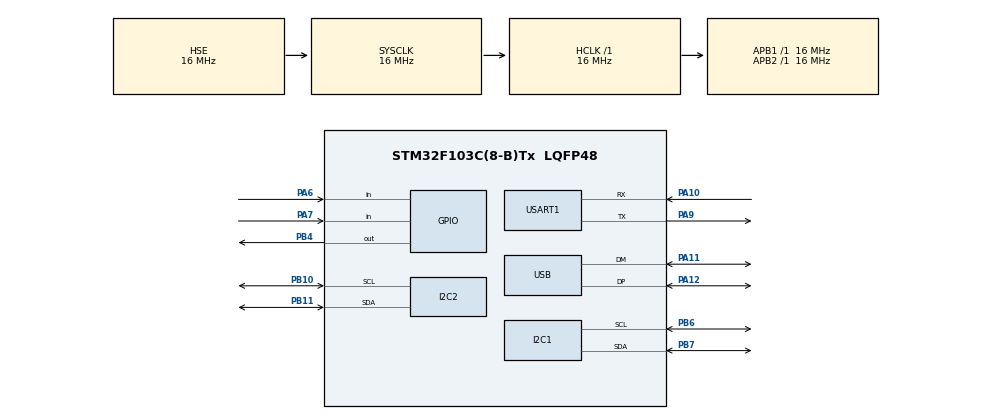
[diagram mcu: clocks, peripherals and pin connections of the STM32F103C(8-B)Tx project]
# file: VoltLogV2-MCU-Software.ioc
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FREERTOS.Tasks01=defaultTask,0,128,StartDefaultTask,Default,NULL,Dynamic,NULL,NULL;ui_button,-2,128,ui_button_handle,Default,NULL,Dynamic,NULL,NULL;ui_screen_handl,0,128,StartTask03,Default,NULL,Dynamic,NULL,NULL;eeprom_task,0,128,eeprom_task_func,Default,NULL,Dynamic,NULL,NULL
FREERTOS.configUSE_NEWLIB_REENTRANT=1
I2C1.I2C_Mode=I2C_Fast
I2C2.I2C_Mode=I2C_Fast
Mcu.Family=STM32F1
Mcu.Name=STM32F103C(8-B)Tx
Mcu.Package=LQFP48
NVIC.PriorityGroup=NVIC_PRIORITYGROUP_4
NVIC.TIM1_UP_IRQn=true\:15\:0\:false\:false\:true\:false\:false\:true\:true
NVIC.TimeBase=TIM1_UP_IRQn
NVIC.TimeBaseIP=TIM1
NVIC.USB_LP_CAN1_RX0_IRQn=true\:5\:0\:false\:false\:true\:true\:false\:true\:true
PA10.Mode=Asynchronous
PA10.Signal=USART1_RX
PA11.Mode=Device
PA11.Signal=USB_DM
PA12.Mode=Device
PA12.Signal=USB_DP
PA6.Signal=GPIO_Input
PA7.Signal=GPIO_Input
PA9.Mode=Asynchronous
PA9.Signal=USART1_TX
PB10.Mode=I2C
PB10.Signal=I2C2_SCL
PB11.Mode=I2C
PB11.Signal=I2C2_SDA
PB4.Signal=GPIO_Output
PB6.Mode=I2C
PB6.Signal=I2C1_SCL
PB7.Mode=I2C
PB7.Signal=I2C1_SDA
PD0-OSC_IN.Mode=HSE-External-Oscillator
PD0-OSC_IN.Signal=RCC_OSC_IN
PD1-OSC_OUT.Mode=HSE-External-Oscillator
PD1-OSC_OUT.Signal=RCC_OSC_OUT
ProjectManager.HeapSize=0x200
ProjectManager.StackSize=0x400
ProjectManager.TargetToolchain=STM32CubeIDE
RCC.AHBFreq_Value=16000000
RCC.APB1Freq_Value=16000000
RCC.APB1TimFreq_Value=16000000
RCC.APB2Freq_Value=16000000
RCC.APB2TimFreq_Value=16000000
RCC.EnbaleCSS=true
RCC.HCLKFreq_Value=16000000
RCC.HSE_VALUE=16000000
RCC.PLLMUL=RCC_PLL_MUL3
RCC.SYSCLKFreq_VALUE=16000000
RCC.SYSCLKSource=RCC_SYSCLKSOURCE_HSE
RCC.USBFreq_Value=48000000
USART1.VirtualMode=VM_ASYNC
USB_DEVICE.CLASS_NAME_FS=MSC
USB_DEVICE.VirtualMode=Msc
USB_DEVICE.VirtualModeFS=Msc_FS
VP_FATFS_VS_Generic.Mode=User_defined
VP_FREERTOS_VS_CMSIS_V1.Mode=CMSIS_V1
VP_SYS_VS_ND.Mode=No_Debug
VP_SYS_VS_tim1.Mode=TIM1
VP_USB_DEVICE_VS_USB_DEVICE_MSC_FS.Mode=MSC_FS
board=custom

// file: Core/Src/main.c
/* USER CODE BEGIN Header */
/* USER CODE END Header */
#include "main.h"
#include "cmsis_os.h"
#include "fatfs.h"
#include "usb_device.h"
#include <stdbool.h>
#include "./ssd1306/ssd1306.h"
#include "./ina219/ina219.h"
#include "./button_api/button_api.h"
#include "m24m02_eeprom/m24m02_eeprom.h"

I2C_HandleTypeDef hi2c1;
I2C_HandleTypeDef hi2c2;

INA219_t ina219;

uint16_t vbus, vshunt, current;
bool is_menu_is_activated = false;
bool allowed_record_to_memory = false;
UART_HandleTypeDef huart1;

osThreadId defaultTaskHandle;
osThreadId ui_buttonHandle;
osThreadId ui_screen_handlHandle;
osThreadId eeprom_taskHandle;

void SystemClock_Config(void);
static void MX_GPIO_Init(void);
static void MX_I2C1_Init(void);
static void MX_I2C2_Init(void);
static void MX_USART1_UART_Init(void);
void StartDefaultTask(void const *argument);
void ui_button_handle(void const *argument);
void StartTask03(void const *argument);
void eeprom_task_func(void const *argument);

int main(void) {

	/* MCU Configuration--------------------------------------------------------*/

	/* Reset of all peripherals, Initializes the Flash interface and the Systick. */
	HAL_Init();

	/* Configure the system clock */
	SystemClock_Config();

	/* Initialize all configured peripherals */
	MX_GPIO_Init();
	MX_I2C1_Init();
	MX_I2C2_Init();
	MX_USART1_UART_Init();
	MX_FATFS_Init();
	/* We should never get here as control is now taken by the scheduler */

	/* Infinite loop */
	/* USER CODE BEGIN WHILE */
	scan_I2C_bus();
	INA219_Init(&ina219);
	INA219_setCalibration_32V_2A(&ina219);
	ssd1306_Init();

	/* Create the thread(s) */
	/* definition and creation of defaultTask */
	osThreadDef(defaultTask, StartDefaultTask, osPriorityNormal, 0, 128);
	defaultTaskHandle = osThreadCreate(osThread(defaultTask), NULL);

	/* definition and creation of ui_button */
	osThreadDef(ui_button, ui_button_handle, osPriorityNormal, 0, 128);
	ui_buttonHandle = osThreadCreate(osThread(ui_button), NULL);

	/* definition and creation of ui_screen_handl */
	osThreadDef(ui_screen_handl, StartTask03, osPriorityNormal, 0, 128);
	ui_screen_handlHandle = osThreadCreate(osThread(ui_screen_handl), NULL);

	/* definition and creation of eeprom_task */
	osThreadDef(eeprom_task, eeprom_task_func, osPriorityNormal, 0, 128);
	eeprom_taskHandle = osThreadCreate(osThread(eeprom_task), NULL);

	/* Start scheduler */
	osKernelStart();

}

void SystemClock_Config(void) {
	RCC_OscInitTypeDef RCC_OscInitStruct = { 0 };
	RCC_ClkInitTypeDef RCC_ClkInitStruct = { 0 };
	RCC_PeriphCLKInitTypeDef PeriphClkInit = { 0 };

	/** Initializes the RCC Oscillators according to the specified parameters
	 * in the RCC_OscInitTypeDef structure.
	 */
	RCC_OscInitStruct.OscillatorType = RCC_OSCILLATORTYPE_HSE;
	RCC_OscInitStruct.HSEState = RCC_HSE_ON;
	RCC_OscInitStruct.HSEPredivValue = RCC_HSE_PREDIV_DIV1;
	RCC_OscInitStruct.HSIState = RCC_HSI_ON;
	RCC_OscInitStruct.PLL.PLLState = RCC_PLL_ON;
	RCC_OscInitStruct.PLL.PLLSource = RCC_PLLSOURCE_HSE;
	RCC_OscInitStruct.PLL.PLLMUL = RCC_PLL_MUL3;
	if (HAL_RCC_OscConfig(&RCC_OscInitStruct) != HAL_OK) {
		Error_Handler();
	}

	/** Initializes the CPU, AHB and APB buses clocks
	 */
	RCC_ClkInitStruct.ClockType = RCC_CLOCKTYPE_HCLK | RCC_CLOCKTYPE_SYSCLK
			| RCC_CLOCKTYPE_PCLK1 | RCC_CLOCKTYPE_PCLK2;
	RCC_ClkInitStruct.SYSCLKSource = RCC_SYSCLKSOURCE_HSE;
	RCC_ClkInitStruct.AHBCLKDivider = RCC_SYSCLK_DIV1;
	RCC_ClkInitStruct.APB1CLKDivider = RCC_HCLK_DIV1;
	RCC_ClkInitStruct.APB2CLKDivider = RCC_HCLK_DIV1;

	if (HAL_RCC_ClockConfig(&RCC_ClkInitStruct, FLASH_LATENCY_0) != HAL_OK) {
		Error_Handler();
	}
	PeriphClkInit.PeriphClockSelection = RCC_PERIPHCLK_USB;
	PeriphClkInit.UsbClockSelection = RCC_USBCLKSOURCE_PLL;
	if (HAL_RCCEx_PeriphCLKConfig(&PeriphClkInit) != HAL_OK) {
		Error_Handler();
	}

	/** Enables the Clock Security System
	 */
	HAL_RCC_EnableCSS();
}

static void MX_I2C1_Init(void) {

	hi2c1.Instance = I2C1;
	hi2c1.Init.ClockSpeed = 400000;
	hi2c1.Init.DutyCycle = I2C_DUTYCYCLE_2;
	hi2c1.Init.OwnAddress1 = 0;
	hi2c1.Init.AddressingMode = I2C_ADDRESSINGMODE_7BIT;
	hi2c1.Init.DualAddressMode = I2C_DUALADDRESS_DISABLE;
	hi2c1.Init.OwnAddress2 = 0;
	hi2c1.Init.GeneralCallMode = I2C_GENERALCALL_DISABLE;
	hi2c1.Init.NoStretchMode = I2C_NOSTRETCH_DISABLE;
	if (HAL_I2C_Init(&hi2c1) != HAL_OK) {
		Error_Handler();
	}

}

static void MX_I2C2_Init(void) {

	hi2c2.Instance = I2C2;
	hi2c2.Init.ClockSpeed = 400000;
	hi2c2.Init.DutyCycle = I2C_DUTYCYCLE_2;
	hi2c2.Init.OwnAddress1 = 0;
	hi2c2.Init.AddressingMode = I2C_ADDRESSINGMODE_7BIT;
	hi2c2.Init.DualAddressMode = I2C_DUALADDRESS_DISABLE;
	hi2c2.Init.OwnAddress2 = 0;
	hi2c2.Init.GeneralCallMode = I2C_GENERALCALL_DISABLE;
	hi2c2.Init.NoStretchMode = I2C_NOSTRETCH_DISABLE;
	if (HAL_I2C_Init(&hi2c2) != HAL_OK) {
		Error_Handler();
	}

}

static void MX_USART1_UART_Init(void) {

	huart1.Instance = USART1;
	huart1.Init.BaudRate = 115200;
	huart1.Init.WordLength = UART_WORDLENGTH_8B;
	huart1.Init.StopBits = UART_STOPBITS_1;
	huart1.Init.Parity = UART_PARITY_NONE;
	huart1.Init.Mode = UART_MODE_TX_RX;
	huart1.Init.HwFlowCtl = UART_HWCONTROL_NONE;
	huart1.Init.OverSampling = UART_OVERSAMPLING_16;
	if (HAL_UART_Init(&huart1) != HAL_OK) {
		Error_Handler();
	}

}

static void MX_GPIO_Init(void) {
	GPIO_InitTypeDef GPIO_InitStruct = { 0 };

	/* GPIO Ports Clock Enable */
	__HAL_RCC_GPIOD_CLK_ENABLE();
	__HAL_RCC_GPIOA_CLK_ENABLE();
	__HAL_RCC_GPIOB_CLK_ENABLE();

	/*Configure GPIO pin Output Level */
	HAL_GPIO_WritePin(GPIOB, GPIO_PIN_4, GPIO_PIN_RESET);

	/*Configure GPIO pins : PA6 PA7 */
	GPIO_InitStruct.Pin = GPIO_PIN_6 | GPIO_PIN_7;
	GPIO_InitStruct.Mode = GPIO_MODE_INPUT;
	GPIO_InitStruct.Pull = GPIO_NOPULL;
	HAL_GPIO_Init(GPIOA, &GPIO_InitStruct);

	/*Configure GPIO pin : PB4 */
	GPIO_InitStruct.Pin = GPIO_PIN_4;
	GPIO_InitStruct.Mode = GPIO_MODE_OUTPUT_PP;
	GPIO_InitStruct.Pull = GPIO_NOPULL;
	GPIO_InitStruct.Speed = GPIO_SPEED_FREQ_LOW;
	HAL_GPIO_Init(GPIOB, &GPIO_InitStruct);

}

void StartDefaultTask(void const *argument) {
	/* init code for USB_DEVICE */
	MX_USB_DEVICE_Init();
	for (;;) {
		osDelay(1);
	}
}

void ui_button_handle(void const *argument) {
	/* USER CODE BEGIN ui_button_handle */
	/* Infinite loop */
	for (;;) {

		eButtonEvent event_left = getLeftButtonEvent(); // Get the button event
		eButtonEvent event_right = getLeftButtonEvent(); // Get the button event
		// is_menu_is_activated
		switch (event_left) {
		case NO_PRESS:
			// No button press detected, do nothing or some idle operation
			break;

		case SINGLE_PRESS:
			// Handle single press event
			// uart_send_message("Single Press Detected\r\n");
			// Add your logic here, e.g., toggle an LED or send a message
			is_menu_is_activated = true;
			// Clear screen
			ssd1306_Fill(Black);

			// Flush buffer to screen
			ssd1306_UpdateScreen();
			draw_settings_screen(100, 100, 100);

			uart_send_message("switch to menu by button click ");

			break;

		case DOUBLE_PRESS:
			// Handle double press event
			// uart_send_message("Double Press Detected\r\n");
			// Add your logic here, e.g., toggle a different LED or send another message

			if (is_menu_is_activated) {
				ssd1306_Fill(Black);

				// Flush buffer to screen
				ssd1306_UpdateScreen();
				is_menu_is_activated = false;
				uart_send_message("switch to main by button click ");

			}
			break;

		case LONG_PRESS:

			//allowed_record_to_memory = true;
			// Handle long press event
			// uart_send_message("Long Press Detected\r\n");
			// Add your logic here, e.g., turn off a device or enter a special mode
			break;

		default:
			// Optionally handle unexpected events
			// uart_send_message("Unknown Button Event\r\n");
			break;
		}

		switch (event_right) {
		case NO_PRESS:
			// No button press detected, do nothing or some idle operation
			break;

		case SINGLE_PRESS:
			// Handle single press event
			// uart_send_message("Single Press Detected\r\n");
			// Add your logic here, e.g., toggle an LED or send a message
			uart_send_message("long press starting recording");
			allowed_record_to_memory = true;
			break;

		case DOUBLE_PRESS:
			// Handle double press event
			// uart_send_message("Double Press Detected\r\n");
			// Add your logic here, e.g., toggle a different LED or send another message
			break;

		case LONG_PRESS:

			// Handle long press event
			// uart_send_message("Long Press Detected\r\n");
			// Add your logic here, e.g., turn off a device or enter a special mode
			break;

		default:
			// Optionally handle unexpected events
			// uart_send_message("Unknown Button Event\r\n");
			break;
		}

		osDelay(1);
	}
	/* USER CODE END ui_button_handle */
}

void StartTask03(void const *argument) {
	/* USER CODE BEGIN StartTask03 */
	/* Infinite loop */
	for (;;) {
		if (!is_menu_is_activated) {
			char buf[40];
			vbus = INA219_ReadBusVoltage(&ina219);
			vshunt = INA219_ReadShuntVolage(&ina219);
			current = INA219_ReadCurrent(&ina219);
			// sprintf(buf,"%d\n",vbus);
			// uart_send_message(buf);
			draw_main_screen(vbus, current, 12, true);
		}
	}
	/* USER CODE END StartTask03 */
}

void eeprom_task_func(void const *argument) {

	for (;;) {

		if (allowed_record_to_memory) {
			Write_EEPROM();
			osDelay(5);
			Read_EEPROM();
			char buf[40];
			sprintf(buf, "a:%d b:%d c:%d", (int) RdBuffer[0], (int) RdBuffer[1],
					(int) RdBuffer[2]);
			uart_send_message(buf);
			allowed_record_to_memory = false;
		}
		osDelay(1);
	}
	/* USER CODE END eeprom_task_func */
}

void HAL_TIM_PeriodElapsedCallback(TIM_HandleTypeDef *htim) {
	if (htim->Instance == TIM1) {
		HAL_IncTick();
	}
}

void Error_Handler(void) {
}

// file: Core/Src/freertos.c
/* USER CODE BEGIN Header */
/**
 ******************************************************************************
 * File Name          : freertos.c
 * Description        : Code for freertos applications
 ******************************************************************************
 * @attention
 *
 * Copyright (c) 2024 STMicroelectronics.
 * All rights reserved.
 *
 * This software is licensed under terms that can be found in the LICENSE file
 * in the root directory of this software component.
 * If no LICENSE file comes with this software, it is provided AS-IS.
 *
 ******************************************************************************
 */
/* USER CODE END Header */

#include "FreeRTOS.h"
#include "task.h"
#include "main.h"

/* GetIdleTaskMemory prototype (linked to static allocation support) */
void vApplicationGetIdleTaskMemory( StaticTask_t **ppxIdleTaskTCBBuffer, StackType_t **ppxIdleTaskStackBuffer, uint32_t *pulIdleTaskStackSize );

/* USER CODE BEGIN GET_IDLE_TASK_MEMORY */
static StaticTask_t xIdleTaskTCBBuffer;
static StackType_t xIdleStack[configMINIMAL_STACK_SIZE];

void vApplicationGetIdleTaskMemory(StaticTask_t** ppxIdleTaskTCBBuffer, StackType_t** ppxIdleTaskStackBuffer, uint32_t* pulIdleTaskStackSize)
{
    *ppxIdleTaskTCBBuffer = &xIdleTaskTCBBuffer;
    *ppxIdleTaskStackBuffer = &xIdleStack[0];
    *pulIdleTaskStackSize = configMINIMAL_STACK_SIZE;
    /* place for user code */
}
/* USER CODE END GET_IDLE_TASK_MEMORY */
